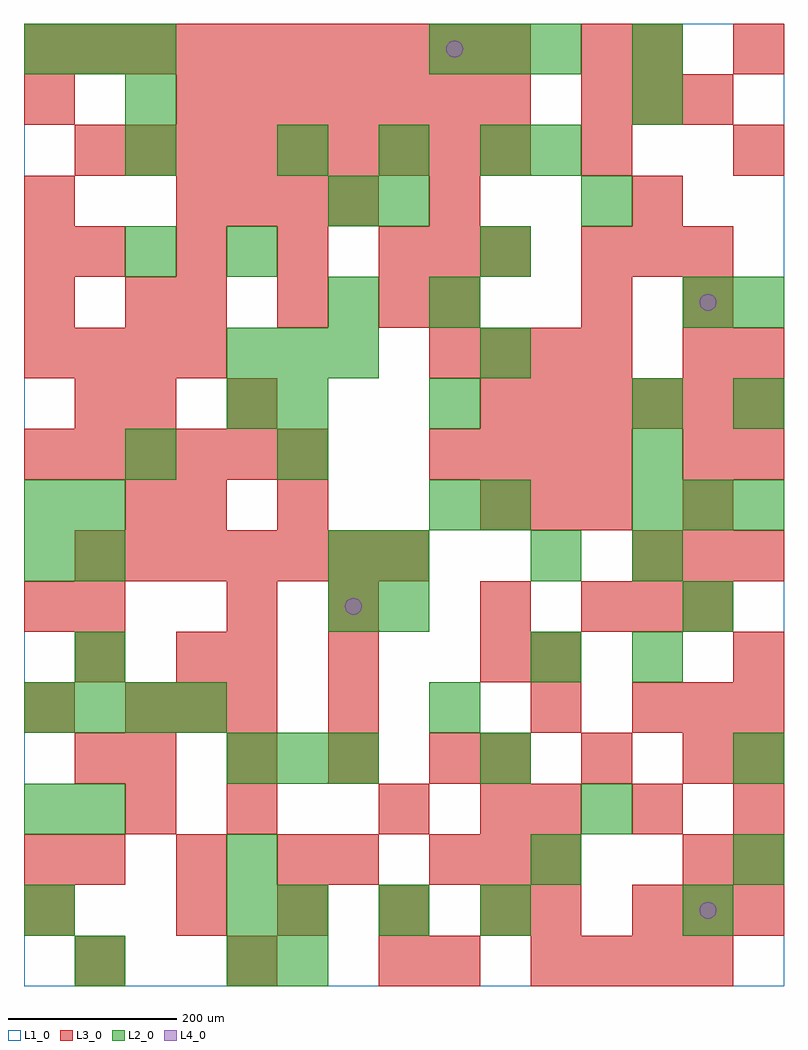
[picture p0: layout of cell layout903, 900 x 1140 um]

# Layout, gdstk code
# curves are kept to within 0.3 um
import gdstk
lib = gdstk.Library(unit=1e-6, precision=1e-09)
def R(c, l, rs):  # rectangles x0, y0, x1, y1
    for r in rs: c.add(gdstk.rectangle(r[:2], r[2:], *l))
def A(c, l, x, y, w, h, nx, ny, dx, dy):  # array of equal rectangles
    R(c, l, [(x+i*dx, y+j*dy, x+i*dx+w, y+j*dy+h) for i in range(nx) for j in range(ny)])
def P(c, l, *ps):  # polygons
    for p in ps: c.add(gdstk.Polygon(p, *l))
L1_0 = (1, 0)
L2_0 = (2, 0)
L3_0 = (3, 0)
L4_0 = (4, 0)

layout903 = lib.new_cell('layout903')
R(layout903, L1_0, [(0,0,900,1140)])
A(layout903, L2_0, 60, 0, 60, 60, 1, 3, 0, 180)
A(layout903, L2_0, 240, 0, 60, 60, 1, 3, 0, 60)
A(layout903, L2_0, 300, 60, 60, 60, 3, 2, 120, 900)
A(layout903, L2_0, 780, 60, 60, 60, 1, 3, 0, 360)
A(layout903, L2_0, 240, 240, 60, 60, 3, 2, 60, 480)
A(layout903, L2_0, 0, 300, 60, 60, 4, 1, 60, 0)
A(layout903, L2_0, 720, 360, 60, 60, 1, 3, 0, 120)
A(layout903, L2_0, 480, 540, 60, 60, 1, 3, 0, 120)
A(layout903, L2_0, 720, 540, 60, 60, 3, 1, 60, 0)
A(layout903, L2_0, 0, 1080, 60, 60, 3, 1, 60, 0)
A(layout903, L2_0, 480, 1080, 60, 60, 3, 1, 60, 0)
R(layout903, L2_0, [(300,0,360,60), (0,60,60,120), (600,120,660,180), (840,120,900,180), (0,180,60,240), (660,180,720,240), (540,240,600,300), (840,240,900,300), (480,300,540,360), (600,360,660,420), (360,420,420,480), (420,420,480,480), (0,480,60,540), (60,480,120,540), (360,480,420,540), (420,480,480,540), (600,480,660,540), (0,540,60,600), (60,540,120,600), (540,540,600,600), (120,600,180,660), (300,600,360,660), (240,660,300,720), (300,660,360,720), (720,660,780,720), (840,660,900,720), (540,720,600,780), (360,780,420,840), (840,780,900,840), (120,840,180,900), (240,840,300,900), (540,840,600,900), (360,900,420,960), (420,900,480,960), (660,900,720,960), (120,960,180,1020), (600,960,660,1020), (120,1020,180,1080), (720,1020,780,1080), (720,1080,780,1140)])
A(layout903, L3_0, 60, 0, 60, 60, 3, 1, 180, 0)
A(layout903, L3_0, 600, 0, 60, 60, 4, 1, 60, 0)
A(layout903, L3_0, 180, 60, 60, 60, 4, 1, 120, 0)
A(layout903, L3_0, 720, 60, 60, 60, 3, 2, 60, 240)
A(layout903, L3_0, 60, 120, 60, 60, 3, 1, 120, 0)
A(layout903, L3_0, 480, 120, 60, 60, 3, 1, 60, 0)
A(layout903, L3_0, 840, 120, 60, 60, 1, 3, 0, 120)
A(layout903, L3_0, 600, 180, 60, 60, 3, 1, 120, 0)
A(layout903, L3_0, 120, 240, 60, 60, 4, 1, 120, 0)
A(layout903, L3_0, 540, 240, 60, 60, 3, 1, 120, 0)
A(layout903, L3_0, 120, 300, 60, 60, 3, 1, 60, 0)
A(layout903, L3_0, 360, 300, 60, 60, 1, 3, 0, 60)
A(layout903, L3_0, 660, 420, 60, 60, 3, 2, 60, 420)
A(layout903, L3_0, 60, 480, 60, 60, 7, 1, 60, 0)
A(layout903, L3_0, 720, 480, 60, 60, 3, 1, 60, 0)
A(layout903, L3_0, 120, 540, 60, 60, 1, 3, 0, 120)
A(layout903, L3_0, 540, 540, 60, 60, 3, 1, 60, 0)
A(layout903, L3_0, 0, 600, 60, 60, 6, 1, 60, 0)
A(layout903, L3_0, 480, 600, 60, 60, 4, 2, 60, 120)
A(layout903, L3_0, 540, 660, 60, 60, 6, 1, 60, 0)
A(layout903, L3_0, 0, 720, 60, 60, 4, 1, 60, 0)
A(layout903, L3_0, 0, 780, 60, 60, 1, 3, 0, 60)
A(layout903, L3_0, 180, 780, 60, 60, 3, 1, 120, 0)
A(layout903, L3_0, 480, 780, 60, 60, 1, 3, 0, 60)
A(layout903, L3_0, 60, 840, 60, 60, 4, 1, 120, 0)
A(layout903, L3_0, 180, 900, 60, 60, 4, 1, 60, 0)
A(layout903, L3_0, 60, 960, 60, 60, 9, 1, 60, 0)
A(layout903, L3_0, 180, 1020, 60, 60, 7, 1, 60, 0)
A(layout903, L3_0, 660, 1020, 60, 60, 3, 1, 60, 0)
A(layout903, L3_0, 0, 1080, 60, 60, 10, 1, 60, 0)
R(layout903, L3_0, [(480,0,540,60), (0,60,60,120), (600,60,660,120), (0,120,60,180), (360,120,420,180), (780,120,840,180), (120,180,180,240), (240,180,300,240), (420,180,480,240), (540,180,600,240), (60,240,120,300), (0,300,60,360), (600,300,660,360), (60,360,120,420), (180,360,240,420), (240,360,300,420), (540,360,600,420), (600,360,660,420), (0,420,60,480), (60,420,120,480), (240,420,300,480), (540,420,600,480), (180,540,240,600), (300,540,360,600), (780,540,840,600), (780,600,840,660), (840,600,900,660), (60,660,120,720), (240,660,300,720), (780,720,840,780), (840,720,900,780), (660,780,720,840), (780,780,840,840), (540,840,600,900), (720,900,780,960), (660,960,720,1020), (840,960,900,1020), (0,1020,60,1080), (660,1080,720,1140), (720,1080,780,1140), (840,1080,900,1140)])
P(layout903, L4_0, [(400,450),(399.239,453.827),(397.071,457.071),(393.827,459.239),(390,460),(386.173,459.239),(382.929,457.071),(380.761,453.827),(380,450),(380.761,446.173),(382.929,442.929),(386.173,440.761),(390,440),(393.827,440.761),(397.071,442.929),(399.239,446.173)],
  [(520,1110),(519.239,1113.827),(517.071,1117.071),(513.827,1119.239),(510,1120),(506.173,1119.239),(502.929,1117.071),(500.761,1113.827),(500,1110),(500.761,1106.173),(502.929,1102.929),(506.173,1100.761),(510,1100),(513.827,1100.761),(517.071,1102.929),(519.239,1106.173)],
  [(820,90),(819.239,93.827),(817.071,97.071),(813.827,99.239),(810,100),(806.173,99.239),(802.929,97.071),(800.761,93.827),(800,90),(800.761,86.173),(802.929,82.929),(806.173,80.761),(810,80),(813.827,80.761),(817.071,82.929),(819.239,86.173)],
  [(820,810),(819.239,813.827),(817.071,817.071),(813.827,819.239),(810,820),(806.173,819.239),(802.929,817.071),(800.761,813.827),(800,810),(800.761,806.173),(802.929,802.929),(806.173,800.761),(810,800),(813.827,800.761),(817.071,802.929),(819.239,806.173)])

lib.write_gds('layout903.gds')
